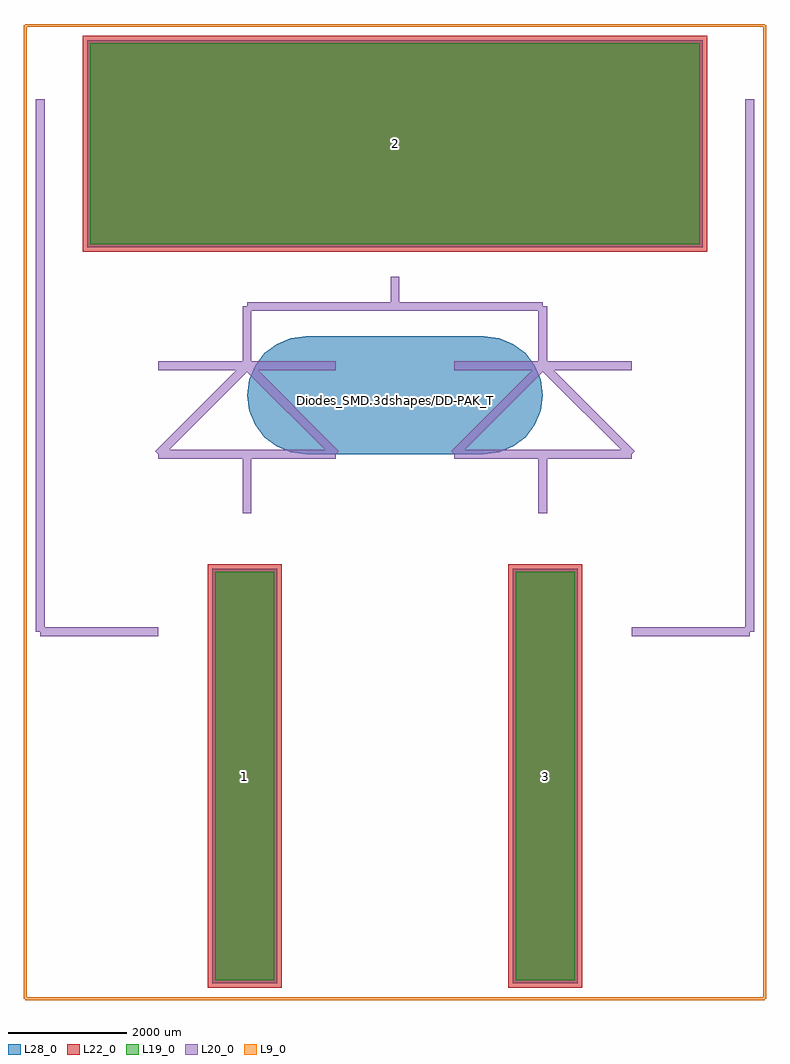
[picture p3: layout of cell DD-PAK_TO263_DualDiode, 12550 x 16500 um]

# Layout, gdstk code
import gdstk
lib = gdstk.Library(unit=1e-6, precision=1e-09)
def R(c, l, rs):  # rectangles x0, y0, x1, y1
    for r in rs: c.add(gdstk.rectangle(r[:2], r[2:], *l))
def P(c, l, *ps):  # polygons
    for p in ps: c.add(gdstk.Polygon(p, *l))
L9_0 = (9, 0)
L19_0 = (19, 0)
L20_0 = (20, 0)
L22_0 = (22, 0)
L28_0 = (28, 0)

dd_pak_to263_dualdiode = lib.new_cell('DD-PAK_TO263_DualDiode')
R(dd_pak_to263_dualdiode, L19_0, [(-3039.91,-7895.12,-2040.09,-984.72), (2040.09,-7895.12,3039.91,-984.72), (-5154.46,4550.88,5154.46,7951)])
R(dd_pak_to263_dualdiode, L22_0, [(-3164.91,-8020.12,-1915.09,-859.72), (1915.09,-8020.12,3164.91,-859.72), (-5279.46,4425.88,5279.46,8076)])
R(dd_pak_to263_dualdiode, L28_0, [(-3089.91,-7945.12,-1990.09,-934.72), (1990.09,-7945.12,3089.91,-934.72), (-5204.46,4500.88,5204.46,8001)])
P(dd_pak_to263_dualdiode, L28_0, [(-1501.14,999.49),(1501.14,999.49),(1759.827,1033.547),(2000.885,1133.396),(2207.886,1292.234),(2366.724,1499.235),(2466.573,1740.293),(2500.63,1998.98),(2466.573,2257.667),(2366.724,2498.725),(2207.886,2705.726),(2000.885,2864.564),(1759.827,2964.413),(1501.14,2998.47),(-1501.14,2998.47),(-1759.827,2964.413),(-2000.885,2864.564),(-2207.886,2705.726),(-2366.724,2498.725),(-2466.573,2257.667),(-2500.63,1998.98),(-2466.573,1740.293),(-2366.724,1499.235),(-2207.886,1292.234),(-2000.885,1133.396),(-1759.827,1033.547)])
dd_pak_to263_dualdiode.add(gdstk.FlexPath([(-5999.48,-1998.98),(-4000.5,-1998.98)], 149.998, ends="flush", simple_path=True, layer=20, datatype=0))  # L20_0
dd_pak_to263_dualdiode.add(gdstk.FlexPath([(-5999.48,7000.24),(-5999.48,-1998.98)], 149.998, ends="flush", simple_path=True, layer=20, datatype=0))  # L20_0
dd_pak_to263_dualdiode.add(gdstk.FlexPath([(5999.48,-1998.98),(5999.48,7000.24)], 149.998, ends="flush", simple_path=True, layer=20, datatype=0))  # L20_0
dd_pak_to263_dualdiode.add(gdstk.FlexPath([(4000.5,-1998.98),(5999.48,-1998.98)], 149.998, ends="flush", simple_path=True, layer=20, datatype=0))  # L20_0
dd_pak_to263_dualdiode.add(gdstk.FlexPath([(1000.76,1000.76),(4000.5,1000.76)], 149.998, ends="flush", simple_path=True, layer=20, datatype=0))  # L20_0
dd_pak_to263_dualdiode.add(gdstk.FlexPath([(2499.36,2499.36),(1000.76,1000.76)], 149.998, ends="flush", simple_path=True, layer=20, datatype=0))  # L20_0
dd_pak_to263_dualdiode.add(gdstk.FlexPath([(4000.5,1000.76),(2499.36,2499.36)], 149.998, ends="flush", simple_path=True, layer=20, datatype=0))  # L20_0
dd_pak_to263_dualdiode.add(gdstk.FlexPath([(1000.76,2499.36),(4000.5,2499.36)], 149.998, ends="flush", simple_path=True, layer=20, datatype=0))  # L20_0
dd_pak_to263_dualdiode.add(gdstk.FlexPath([(0,3500.12),(0,4000.5)], 149.998, ends="flush", simple_path=True, layer=20, datatype=0))  # L20_0
dd_pak_to263_dualdiode.add(gdstk.FlexPath([(2499.36,3500.12),(0,3500.12)], 149.998, ends="flush", simple_path=True, layer=20, datatype=0))  # L20_0
dd_pak_to263_dualdiode.add(gdstk.FlexPath([(2499.36,2499.36),(2499.36,3500.12)], 149.998, ends="flush", simple_path=True, layer=20, datatype=0))  # L20_0
dd_pak_to263_dualdiode.add(gdstk.FlexPath([(2499.36,1000.76),(2499.36,0)], 149.998, ends="flush", simple_path=True, layer=20, datatype=0))  # L20_0
dd_pak_to263_dualdiode.add(gdstk.FlexPath([(-2501.9,1000.76),(-2501.9,0)], 149.998, ends="flush", simple_path=True, layer=20, datatype=0))  # L20_0
dd_pak_to263_dualdiode.add(gdstk.FlexPath([(-2501.9,2499.36),(-2501.9,3500.12)], 149.998, ends="flush", simple_path=True, layer=20, datatype=0))  # L20_0
dd_pak_to263_dualdiode.add(gdstk.FlexPath([(-4000.5,2499.36),(-1000.76,2499.36)], 149.998, ends="flush", simple_path=True, layer=20, datatype=0))  # L20_0
dd_pak_to263_dualdiode.add(gdstk.FlexPath([(-1000.76,1000.76),(-2501.9,2499.36)], 149.998, ends="flush", simple_path=True, layer=20, datatype=0))  # L20_0
dd_pak_to263_dualdiode.add(gdstk.FlexPath([(-2501.9,2499.36),(-4000.5,1000.76)], 149.998, ends="flush", simple_path=True, layer=20, datatype=0))  # L20_0
dd_pak_to263_dualdiode.add(gdstk.FlexPath([(-4000.5,1000.76),(-1000.76,1000.76)], 149.998, ends="flush", simple_path=True, layer=20, datatype=0))  # L20_0
dd_pak_to263_dualdiode.add(gdstk.FlexPath([(-2499.36,3500.12),(0,3500.12)], 149.998, ends="flush", simple_path=True, layer=20, datatype=0))  # L20_0
dd_pak_to263_dualdiode.add(gdstk.FlexPath([(-6250,-8200),(-6250,8250)], 50, ends="flush", simple_path=True, layer=9, datatype=0))  # L9_0
dd_pak_to263_dualdiode.add(gdstk.FlexPath([(6250,-8200),(-6250,-8200)], 50, ends="flush", simple_path=True, layer=9, datatype=0))  # L9_0
dd_pak_to263_dualdiode.add(gdstk.FlexPath([(6250,8250),(6250,-8200)], 50, ends="flush", simple_path=True, layer=9, datatype=0))  # L9_0
dd_pak_to263_dualdiode.add(gdstk.FlexPath([(-6250,8250),(6250,8250)], 50, ends="flush", simple_path=True, layer=9, datatype=0))  # L9_0
dd_pak_to263_dualdiode.add(gdstk.Label('Diodes_SMD.3dshapes/DD-PAK_TO263_DualDiode.wrl', (0,1905), layer=12, texttype=0))
dd_pak_to263_dualdiode.add(gdstk.Label('~', (0,1998.98), layer=28, texttype=0))
dd_pak_to263_dualdiode.add(gdstk.Label('3', (2540,-4439.92), layer=28, texttype=0))
dd_pak_to263_dualdiode.add(gdstk.Label('1', (-2540,-4439.92), layer=28, texttype=0))
dd_pak_to263_dualdiode.add(gdstk.Label('2', (0,6250.94), layer=28, texttype=0))
dd_pak_to263_dualdiode.add(gdstk.Label('type', (500.38,-9751.06), layer=9, texttype=0))
dd_pak_to263_dualdiode.add(gdstk.Label('devicename', (-200.66,9448.8), layer=9, texttype=0))

lib.write_gds('DD-PAK_TO263_DualDiode.gds')
